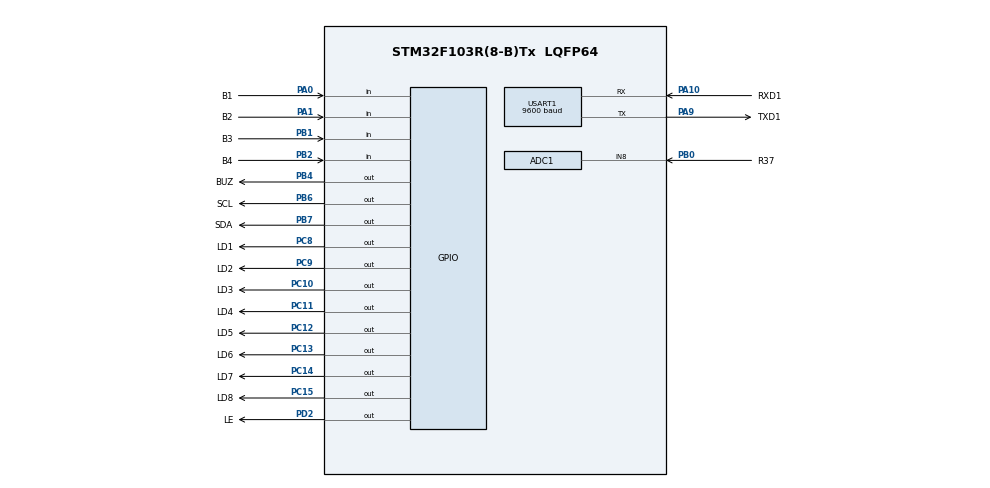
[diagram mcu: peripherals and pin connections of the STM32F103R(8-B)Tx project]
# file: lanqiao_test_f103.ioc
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ADC1.Channel-0\#ChannelRegularConversion=ADC_CHANNEL_8
ADC1.ContinuousConvMode=ENABLE
ADC1.NbrOfConversionFlag=1
ADC1.Rank-0\#ChannelRegularConversion=1
ADC1.SamplingTime-0\#ChannelRegularConversion=ADC_SAMPLETIME_7CYCLES_5
ADC1.master=1
Mcu.Family=STM32F1
Mcu.Name=STM32F103R(8-B)Tx
Mcu.Package=LQFP64
NVIC.PriorityGroup=NVIC_PRIORITYGROUP_2
NVIC.USART1_IRQn=true\:0\:3\:false\:false\:true\:true\:false\:true
PA0-WKUP.GPIO_Label=B1
PA0-WKUP.Signal=GPIO_Input
PA1.GPIO_Label=B2
PA1.Signal=GPIO_Input
PA10.GPIO_Label=RXD1
PA10.Mode=Asynchronous
PA10.Signal=USART1_RX
PA13.Mode=JTAG_4_pins
PA13.Signal=SYS_JTMS-SWDIO
PA14.Mode=JTAG_4_pins
PA14.Signal=SYS_JTCK-SWCLK
PA15.Mode=JTAG_4_pins
PA15.Signal=SYS_JTDI
PA9.GPIO_Label=TXD1
PA9.Mode=Asynchronous
PA9.Signal=USART1_TX
PB0.GPIO_Label=R37
PB0.Signal=ADCx_IN8
PB1.GPIO_Label=B3
PB1.Signal=GPIO_Input
PB2.GPIO_Label=B4
PB2.Signal=GPIO_Input
PB3.Mode=JTAG_4_pins
PB3.Signal=SYS_JTDO-TRACESWO
PB4.GPIO_Label=BUZ
PB4.Signal=GPIO_Output
PB6.GPIO_Label=SCL
PB6.GPIO_ModeDefaultOutputPP=GPIO_MODE_OUTPUT_OD
PB6.GPIO_PuPd=GPIO_PULLUP
PB6.GPIO_Speed=GPIO_SPEED_FREQ_MEDIUM
PB6.PinState=GPIO_PIN_SET
PB6.Signal=GPIO_Output
PB7.GPIO_Label=SDA
PB7.GPIO_ModeDefaultOutputPP=GPIO_MODE_OUTPUT_OD
PB7.GPIO_PuPd=GPIO_PULLUP
PB7.GPIO_Speed=GPIO_SPEED_FREQ_MEDIUM
PB7.PinState=GPIO_PIN_SET
PB7.Signal=GPIO_Output
PC10.GPIO_Label=LD3
PC10.Signal=GPIO_Output
PC11.GPIO_Label=LD4
PC11.Signal=GPIO_Output
PC12.GPIO_Label=LD5
PC12.Signal=GPIO_Output
PC13-TAMPER-RTC.GPIO_Label=LD6
PC13-TAMPER-RTC.Signal=GPIO_Output
PC14-OSC32_IN.GPIO_Label=LD7
PC14-OSC32_IN.Signal=GPIO_Output
PC15-OSC32_OUT.GPIO_Label=LD8
PC15-OSC32_OUT.Signal=GPIO_Output
PC8.GPIO_Label=LD1
PC8.Signal=GPIO_Output
PC9.GPIO_Label=LD2
PC9.Signal=GPIO_Output
PD0-OSC_IN.Mode=HSE-External-Oscillator
PD0-OSC_IN.Signal=RCC_OSC_IN
PD1-OSC_OUT.Mode=HSE-External-Oscillator
PD1-OSC_OUT.Signal=RCC_OSC_OUT
PD2.GPIO_Label=LE
PD2.Signal=GPIO_Output
ProjectManager.HeapSize=0x200
ProjectManager.StackSize=0x400
ProjectManager.TargetToolchain=MDK-ARM V5.32
RCC.ADCPresc=RCC_ADCPCLK2_DIV6
RCC.AHBFreq_Value=72000000
RCC.APB1CLKDivider=RCC_HCLK_DIV2
RCC.APB1Freq_Value=36000000
RCC.APB1TimFreq_Value=72000000
RCC.APB2Freq_Value=72000000
RCC.APB2TimFreq_Value=72000000
RCC.HCLKFreq_Value=72000000
RCC.PLLMUL=RCC_PLL_MUL9
RCC.PLLSourceVirtual=RCC_PLLSOURCE_HSE
RCC.SYSCLKFreq_VALUE=72000000
RCC.SYSCLKSource=RCC_SYSCLKSOURCE_PLLCLK
RCC.USBFreq_Value=72000000
SH.ADCx_IN8.0=ADC1_IN8,IN8
USART1.BaudRate=9600
USART1.VirtualMode=VM_ASYNC
board=custom

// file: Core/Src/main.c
/* USER CODE BEGIN Header */
/**
 ******************************************************************************
 * @file           : main.c
 * @brief          : Main program body
 ******************************************************************************
 * @attention
 *
 * Copyright (c) 2023 STMicroelectronics.
 * All rights reserved.
 *
 * This software is licensed under terms that can be found in the LICENSE file
 * in the root directory of this software component.
 * If no LICENSE file comes with this software, it is provided AS-IS.
 *
 ******************************************************************************
 */
/* USER CODE END Header */
#include "main.h"
#include "adc.h"
#include "gpio.h"
#include "usart.h"

/* USER CODE BEGIN Includes */
#include <stdio.h>
#include <string.h>
#include <math.h>
/* USER CODE END Includes */

/* USER CODE BEGIN PTD */

typedef enum
{
    S0, /* Empty/Initial */
    S1, /* Short */
    S2, /* Pressed */
    S3, /* Long */
} keyState_enum;

/* USER CODE END PTD */

/* USER CODE BEGIN PV */

volatile uint32_t sysTime = 0;

uint32_t keyUpdate_TS[keyNum];
keyState_enum keyState[keyNum];

uint8_t ledBuffer = 0;

char uartRxBuffer[uartBufferSize];
uint8_t uartRxBufferIdx = 0;
uint8_t uartRxOKFlag = 0;

/* USER CODE END PV */

void SystemClock_Config(void);
/* USER CODE BEGIN PFP */

void keyUpdate(void);
void keyResp(void);
void ledUpdate(void);
void msDelay(uint32_t t);

/* USER CODE END PFP */

int main(void)
{

    /* MCU Configuration--------------------------------------------------------*/

    /* Reset of all peripherals, Initializes the Flash interface and the Systick. */
    LL_APB2_GRP1_EnableClock(LL_APB2_GRP1_PERIPH_AFIO);
    LL_APB1_GRP1_EnableClock(LL_APB1_GRP1_PERIPH_PWR);

    /* System interrupt init*/
    NVIC_SetPriorityGrouping(NVIC_PRIORITYGROUP_2);

    /** NONJTRST: Full SWJ (JTAG-DP + SW-DP) but without NJTRST
     */
    LL_GPIO_AF_Remap_SWJ_NONJTRST();

    /* Configure the system clock */
    SystemClock_Config();

    /* USER CODE BEGIN SysInit */
    LL_SYSTICK_EnableIT();
    /* USER CODE END SysInit */

    /* Initialize all configured peripherals */
    MX_GPIO_Init();
    MX_USART1_UART_Init();
    MX_ADC1_Init();

    /* Infinite loop */
    /* USER CODE BEGIN WHILE */
    while (1)
    {
        keyUpdate();
        keyResp();
        ledUpdate();
        /* USER CODE END WHILE */

    }
}

void SystemClock_Config(void)
{
    LL_FLASH_SetLatency(LL_FLASH_LATENCY_2);
    while (LL_FLASH_GetLatency() != LL_FLASH_LATENCY_2)
    {
    }
    LL_RCC_HSE_Enable();

    /* Wait till HSE is ready */
    while (LL_RCC_HSE_IsReady() != 1)
    {
    }
    LL_RCC_PLL_ConfigDomain_SYS(LL_RCC_PLLSOURCE_HSE_DIV_1, LL_RCC_PLL_MUL_9);
    LL_RCC_PLL_Enable();

    /* Wait till PLL is ready */
    while (LL_RCC_PLL_IsReady() != 1)
    {
    }
    LL_RCC_SetAHBPrescaler(LL_RCC_SYSCLK_DIV_1);
    LL_RCC_SetAPB1Prescaler(LL_RCC_APB1_DIV_2);
    LL_RCC_SetAPB2Prescaler(LL_RCC_APB2_DIV_1);
    LL_RCC_SetSysClkSource(LL_RCC_SYS_CLKSOURCE_PLL);

    /* Wait till System clock is ready */
    while (LL_RCC_GetSysClkSource() != LL_RCC_SYS_CLKSOURCE_STATUS_PLL)
    {
    }
    LL_Init1msTick(72000000);
    LL_SetSystemCoreClock(72000000);
    LL_RCC_SetADCClockSource(LL_RCC_ADC_CLKSRC_PCLK2_DIV_6);
}

/* USER CODE BEGIN 4 */

void msDelay(uint32_t t)
{
    uint32_t msDelay_TS = sysTime, delayT = t;
    if (delayT < 0xffffffff)
        delayT++;
    while (sysTime - msDelay_TS < delayT) /* wait */
        ;
}

void keyUpdate(void)
{
    uint8_t i = keyNum, keyInfo = 0xff;

    keyInfo ^= ((LL_GPIO_IsInputPinSet(B1_GPIO_Port, B1_Pin)) << 0);
    keyInfo ^= ((LL_GPIO_IsInputPinSet(B2_GPIO_Port, B2_Pin)) << 1);
    keyInfo ^= ((LL_GPIO_IsInputPinSet(B3_GPIO_Port, B3_Pin)) << 2);
    keyInfo ^= ((LL_GPIO_IsInputPinSet(B4_GPIO_Port, B4_Pin)) << 3);

    while (i--)
    {
        /* Pressed */
        if ((keyInfo & (1 << i)) == 1)
        {
            switch (keyState[i])
            {
            case S0:
                keyState[i] = S2;          // switch state
                keyUpdate_TS[i] = sysTime; // update timestamp
                break;

            default:
                break;
            }
        }
        /* Not Pressed */
        if ((keyInfo & (1 << i)) == 0)
        {
            switch (keyState[i])
            {
            case S2:
                if (sysTime - keyUpdate_TS[i] >= keyLongPressTime) // S3 detection
                    keyState[i] = S3;
                else if (sysTime - keyUpdate_TS[i] >= keyShortPressTime) // S1 detection
                    keyState[i] = S1;
                else
                    keyState[i] = S0; // reset state
                break;

            default:
                keyState[i] = S0; // reset state
                break;
            }
        }
    }
}

void keyResp(void)
{
    /* B1 */
    switch (keyState[0])
    {
    case S1: // Short

        ledBuffer <<= 1;
        if (ledBuffer == 0)
            ledBuffer = 1;

        keyState[0] = S0; // reset state
        break;

    case S3: // Long

        keyState[0] = S0; // reset state
        break;

    default:
        break;
    }

    /* B2 */
    switch (keyState[1])
    {
    case S1: // Short
        ledBuffer >>= 1;
        if (ledBuffer == 0)
            ledBuffer = 1;

        keyState[1] = S0; // reset state
        break;

    case S3: // Long

        keyState[1] = S0; // reset state
        break;

    default:
        break;
    }

    /* B3 */
    switch (keyState[2])
    {
    case S1: // Short

        keyState[2] = S0; // reset state
        break;

    case S3: // Long

        keyState[2] = S0; // reset state
        break;

    default:
        break;
    }

    /* B4 */
    switch (keyState[3])
    {
    case S1: // Short

        keyState[3] = S0; // reset state
        break;

    case S3: // Long

        keyState[3] = S0; // reset state
        break;

    default:
        break;
    }
}

void ledUpdate(void)
{
    LL_GPIO_WriteOutputPort(LD1_GPIO_Port, ~ledBuffer << 8);
    LL_GPIO_SetOutputPin(LE_GPIO_Port, LE_Pin);
    LL_GPIO_ResetOutputPin(LE_GPIO_Port, LE_Pin);
}

void uart_ReceiveIRQ(void)
{
    uint8_t ch = LL_USART_ReceiveData8(USART1);

    if (ch == (uint8_t)('\r'))
    {
        uartRxBufferIdx = 0;
        uartRxOKFlag = 1;
    }
    else
        uartRxBuffer[uartRxBufferIdx++] = ch;
}

int fputc(int ch, FILE *f)
{
    while (!LL_USART_IsActiveFlag_TXE(USART1))
        ;
    LL_USART_TransmitData8(USART1, (uint8_t)ch);
    return ch;
}

/* USER CODE END 4 */

void Error_Handler(void)
{
    __disable_irq();
    while (1)
    {
    }
}
